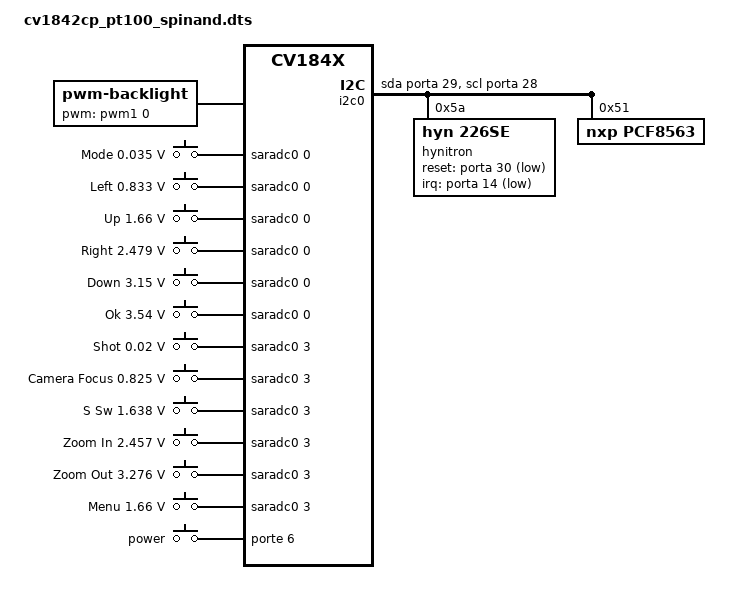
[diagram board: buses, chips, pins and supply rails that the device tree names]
/dts-v1/;
#include "cv184x_base_arm.dtsi"
#include "cv184x_asic_qfn.dtsi"
#include "cv184x_asic_spinand.dtsi"
#include "cv184x_default_memmap.dtsi"

/ {
	backlight: backlight {
		compatible = "pwm-backlight";
		pwms = <&pwm1 0 40000>;
		brightness-levels = <
			0   1   2   3   4   5   6   7
			8   9  10   11  12  13  14  15
			16  17  18  19  20  21  22  23
			24  25  26  27  28  29  30  31
			32  33  34  35  36  37  38  39
			40  41  42  43  44  45  46  47
			48  49  50  51  52  53  54  55
			56  57  58  59  60  61  62  63
			64  65  66  67  68  69  70  71
			72  73  74  75  76  77  78  79
			80  81  82  83  84  85  86  87
			88  89  90  91  92  93  94  95
			96  97  98  99  100 101 102 103
			104 105 106 107 108 109 110 111
			112 113 114 115 116 117 118 119
			120 121 122 123 124 125 126 127
			128 129 130 131 132 133 134 135
			136 137 138 139 140 141 142 143
			144 145 146 147 148 149 150 151
			152 153 154 155 156 157 158 159
			160 161 162 163 164 165 166 167
			168 169 170 171 172 173 174 175
			176 177 178 179 180 181 182 183
			184 185 186 187 188 189 190 191
			192 193 194 195 196 197 198 199
			200 201 202 203 204 205 206 207
			208 209 210 211 212 213 214 215
			216 217 218 219 220 221 222 223
			224 225 226 227 228 229 230 231
			232 233 234 235 236 237 238 239
			240 241 242 243 244 245 246 247
			248 249 250 251 252 253 254 255 >;
		default-brightness-level = <240>;
		post-pwm-on-delay-ms = <10>;
	};

	/delete-node/ ethernet@4070000;
	/delete-node/ keyscan@03040000;
        aliases {
		/delete-property/ ethernet0;
		// /delete-property/ serial2;
		// /delete-property/ serial3;
		// /delete-property/ serial4;
		// /delete-property/ i2c2;
		// /delete-property/ i2c3;
		// /delete-property/ i2c4;
	};

	adc-key1 {
		compatible = "adc-keys";
		io-channels = <&saradc0 0>; // ADC1
		io-channel-names = "buttons";
		keyup-threshold-microvolt = <4095000>; // raw value
		poll-interval = <20>; // ms

		button-mode {
			label = "Mode";
			linux,code = <KEY_MODE>;
			press-threshold-microvolt = <35000>;
			debounce-steps = <2>; // 2次采样值相同才认为按键状态改变
		};

		button-left {
			label = "Left";
			linux,code = <KEY_LEFT>;
			press-threshold-microvolt = <833000>;
			debounce-steps = <2>; // 2次采样值相同才认为按键状态改变
		};

		button-up {
			label = "Up";
			linux,code = <KEY_UP>;
			press-threshold-microvolt = <1660000>;
			debounce-steps = <2>; // 2次采样值相同才认为按键状态改变
		};

		button-right {
			label = "Right";
			linux,code = <KEY_RIGHT>;
			press-threshold-microvolt = <2479000>;
			debounce-steps = <2>; // 2次采样值相同才认为按键状态改变
		};

		button-down {
			label = "Down";
			linux,code = <KEY_DOWN>;
			press-threshold-microvolt = <3150000>;
			debounce-steps = <2>; // 2次采样值相同才认为按键状态改变
		};

		button-ok {
			label = "Ok";
			linux,code = <KEY_OK>;
			press-threshold-microvolt = <3540000>;
			debounce-steps = <2>; // 2次采样值相同才认为按键状态改变
		};
	};

	adc-key2 {
		compatible = "adc-keys";
		io-channels = <&saradc0 3>; // ADC4
		io-channel-names = "buttons";
		keyup-threshold-microvolt = <4095000>; // raw value
		poll-interval = <20>; // ms

		button-shot {
			label = "Shot";
			linux,code = <KEY_CAMERA>;
			press-threshold-microvolt = <20000>;
			debounce-steps = <2>; // 2次采样值相同才认为按键状态改变
		};

		button-af {
			label = "Camera Focus";
			linux,code = <KEY_CAMERA_FOCUS>;
			press-threshold-microvolt = <825000>;
			debounce-steps = <10>; // 10 次采样值相同才认为按键状态改变
		};

		button-s-sw {
			label = "S Sw";
			linux,code = <KEY_PLAY>;
			press-threshold-microvolt = <1638000>;
			debounce-steps = <2>; // 2次采样值相同才认为按键状态改变
		};

		button-zoom-in {
			label = "Zoom In";
			linux,code = <KEY_ZOOMIN>;
			press-threshold-microvolt = <2457000>;
			debounce-steps = <2>; // 2次采样值相同才认为按键状态改变
		};

		button-zoom-out {
			label = "Zoom Out";
			linux,code = <KEY_ZOOMOUT>;
			press-threshold-microvolt = <3276000>;
			debounce-steps = <2>; // 2次采样值相同才认为按键状态改变
		};

		button-menu {
			label = "Menu";
			linux,code = <KEY_MENU>;
			press-threshold-microvolt = <1660000>;
			debounce-steps = <2>; // 2次采样值相同才认为按键状态改变
		};
	};

	power-key {
		compatible = "gpio-keys";
		power {
			label = "power";
			gpios = <&porte 6 GPIO_ACTIVE_HIGH>;
			linux,code = <KEY_POWER>;
		};
	};
};

&wifisd{
	status = "disabled";
};

&wifi_pin{
	status = "disabled";
};

&i2c0 {
	status = "okay";
	/* FMUX_GPIO_REG iic_func_sel gpio_func_sel */
	scl-pinmux = <0x03001070 0x0 0x3>;	// CV_SCL(0)/XGPIOA[28](3)
	sda-pinmux = <0x03001074 0x0 0x3>;	// CV_SDA(0)/XGPIOA[29](3)
	/* gpio port */
	scl-gpios = <&porta 28 GPIO_ACTIVE_HIGH>;
	sda-gpios = <&porta 29 GPIO_ACTIVE_HIGH>;

	hynitron@5A {
		compatible = "hyn,226se";
		reg = <0x5A>;
		reset-gpio = <&porta 30 GPIO_ACTIVE_LOW>;
		irq-gpio = <&porta 14 GPIO_ACTIVE_LOW>;
		max-touch-number = <5>;
		display-coords = <0 0 480 640>;
		pos-swap = <1>;
		posx-reverse = <1>;
		posy-reverse = <0>;
	};

	pcf8563: pcf8563@51 {
		compatible = "nxp,pcf8563";
		reg = <0x51>;
		#clock-cells = <0>;
	};
};

&dac {
	/delete-property/ mute-gpio-r;
};

&{/sound_dac} {
	dai@0 {
		fmt = "IBIF";
	};
};

// SD 烧录时显示logo使用
&{/vo}{
	reset-gpio = <&porta 15 GPIO_ACTIVE_LOW>; // 屏幕reset
	pwm-gpio = <&porta 18 GPIO_ACTIVE_HIGH>; // 背光控制，保持兼容，名字用pwm，但实际是GPIO控制
	/* FMUX_GPIO_REG function_sel */
	backlight-pinmux = <0x03001068 0x3>;	// JTAG_CPU_TCK/PWM[6]/XGPIOA[18]
	/delete-property/ power-ct-gpio; // 无电源控制，删除该属性
	uboot-rotation = <90>; // u-boot 旋转90度
};
